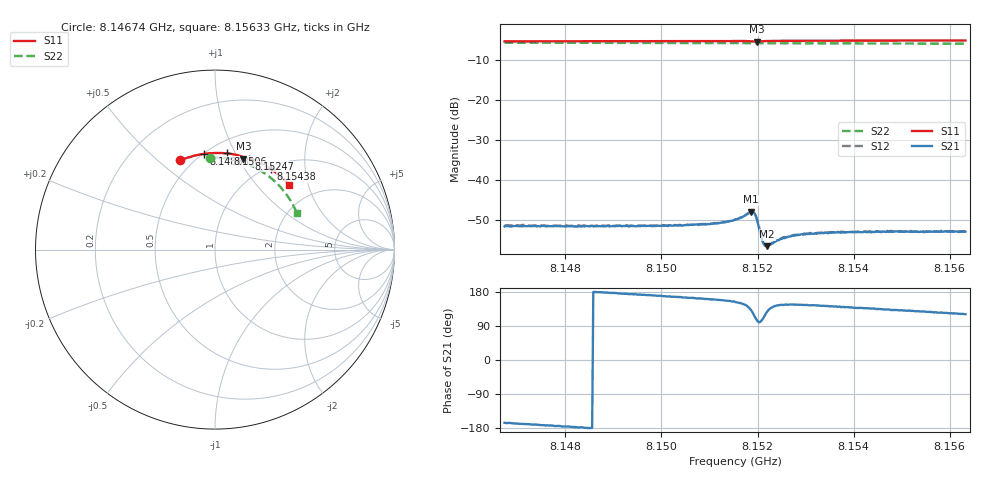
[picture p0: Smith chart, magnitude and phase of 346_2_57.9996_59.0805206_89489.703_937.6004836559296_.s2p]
#  HZ  S  RI  R  50.00
! Rohde & Schwarz Vector Network Analyzer
! Rohde-Schwarz,ZNB20-2Port,1311601062101988,3.16
! Created: UTC 3/21/2024, 1:05:49 AM
! freq[Hz]  re:S11  im:S11  re:S21  im:S21  re:S12  im:S12  re:S22  im:S22
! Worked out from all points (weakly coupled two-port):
!   401 points, 8.14674 GHz to 8.15633 GHz, reference 50 ohm
!   highest |S21| = -48.03 dB at 8.15187 GHz (marker M1); lowest = -56.6 dB at 8.1522 GHz (marker M2)
!   lowest |S11| = -5.5 dB at 8.15199 GHz (marker M3), VSWR 3.26, Z = 37.2 + j52.5 ohm
!   |S11| at or under -10 dB: nowhere
!   |S22| runs from -6.0 to -5.8 dB; largest |S21 - S12| = 0.00013
!   S11 on the Smith chart (normalised r, x): 8.14674 GHz: 0.43, +0.59; 8.14868 GHz: 0.50, +0.75; 8.1506 GHz: 0.61, +0.93; 8.15247 GHz: 0.77, +1.11; 8.15438 GHz: 1.04, +1.33; 8.15633 GHz: 1.47, +1.52
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8.146736e9  -0.1942 0.4968  -0.00252 -0.000647  -0.00259 -0.000613  -0.0275 0.5131
8.148342e9  -0.087 0.5291  -0.0026 -0.000114  -0.00265 -3.22e-05  0.0771 0.5061
8.148678e9  -0.0638 0.533  -0.00262 5.6e-05  -0.00264 9.61e-05  0.0986 0.5019
8.149949e9  0.0244 0.5385  -0.00261 0.000473  -0.0026 0.000519  0.1773 0.478
8.150596e9  0.0695 0.5355  -0.00261 0.000753  -0.00262 0.000785  0.2152 0.461
8.151172e9  0.1096 0.5295  -0.00266 0.00104  -0.00268 0.00107  0.2476 0.4438
8.151532e9  0.1352 0.5235  -0.00282 0.00142  -0.00283 0.00147  0.2671 0.4315
8.151867e9  0.1583 0.5109  -0.00262 0.00298  -0.00258 0.00303  0.2846 0.4191
8.151915e9  0.1593 0.5079  -0.00203 0.00336  -0.00202 0.0034  0.2869 0.4173
8.151939e9  0.159 0.5068  -0.00165 0.00341  -0.0016 0.00345  0.2881 0.4165
8.151987e9  0.1582 0.5064  -0.000824 0.00311  -0.000782 0.00313  0.2904 0.4147
8.152083e9  0.1614 0.5102  -0.000454 0.00182  -0.000412 0.00183  0.2954 0.4113
8.152107e9  0.1632 0.5109  -0.000519 0.0016  -0.000481 0.00163  0.2966 0.4104
8.152155e9  0.167 0.5116  -0.000709 0.00132  -0.000696 0.00137  0.299 0.4087
8.152203e9  0.1711 0.5117  -0.000911 0.00116  -0.000919 0.00121  0.3014 0.4068
8.152467e9  0.1909 0.5073  -0.00147 0.00103  -0.00146 0.00107  0.3146 0.3963
8.152754e9  0.2106 0.5005  -0.00166 0.0011  -0.00168 0.00116  0.3284 0.3843
8.153138e9  0.2355 0.4901  -0.00172 0.00122  -0.00175 0.00127  0.3461 0.3678
8.153618e9  0.2655 0.4754  -0.00169 0.00138  -0.0017 0.0014  0.3669 0.3458
8.154385e9  0.3112 0.4484  -0.00162 0.00155  -0.00161 0.00161  0.3971 0.3084
8.154745e9  0.3315 0.434  -0.00152 0.00162  -0.00152 0.00168  0.4099 0.29
8.156327e9  0.4123 0.3612  -0.00115 0.00192  -0.00116 0.00194  0.456 0.2033
